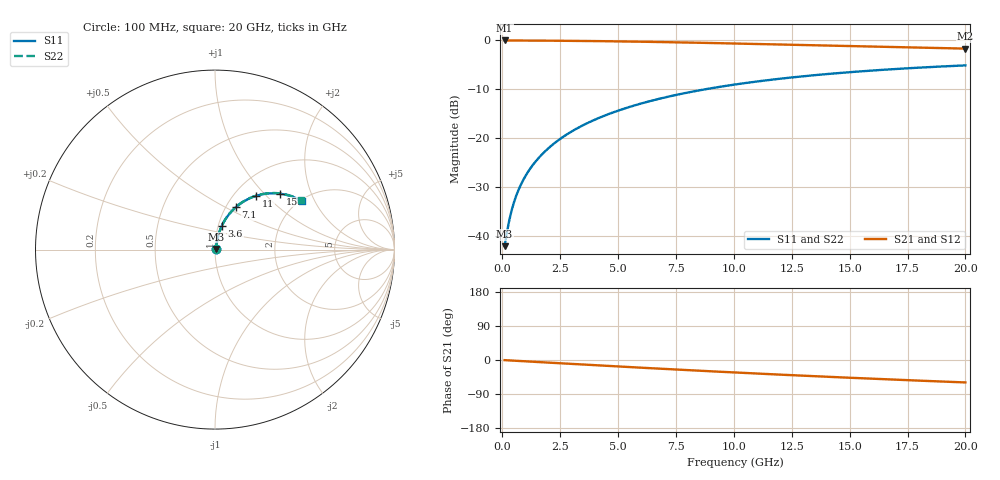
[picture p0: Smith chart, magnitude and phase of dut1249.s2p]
! Touchstone file exported from HFSS 2026.1.0
!  File:  C:/ffzhzh/LocalFiles/Ansys_Project_Files/temp_train_BSMRDL_1249_1783177300_51560.aedt
!  Generated:  11:03:06 PM Jul  4, 2026
!  Design:  BSMRDL
!  Project:  temp_train_BSMRDL_1249_1783177300_51560
! Variables:
!  h_bsmrdl = 2.26um
!  h_ox = 20um
!  h_rdl = 5um
!  h_sub = 80um
!  h_tmrdl = 5um
!  h_tsv = 80um
!  h_via = 3um
!  l_bsmrdl = 877.03um
!  l_sub = 1277.03um
!  l_tmrdl = 200um
!  m_sub = 200um
!  pitch = 56.06um
!  r_tsv = 6um
!  s_tmrdl = 10um
!  w_bsmrdl = 21.34um
!  w_sub = 500um
!  w_tmrdl = 12um
!  x_tsv_center1 = 206um
!  x_tsv_center2 = 1104.37um
!  x_tsv_center3 = 1316.37um
!  x_tsv_center4 = 2214.74um
!  x_tsv_center5 = 2426.74um
!  x_tsv_center6 = 3325.11um
# GHz S MA R 50.000000
! Terminal data exported
! Port[1] = BSM_RDL1_1_T1
! Port[2] = BSM_RDL1_1_T2
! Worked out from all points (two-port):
!   200 points, 100 MHz to 20 GHz, reference 50 ohm
!   highest |S21| = -0.06 dB at 100 MHz (marker M1); lowest = -1.7 dB at 20 GHz (marker M2)
!   |S21| within 3 dB of the highest: start of sweep to end of sweep
!   lowest |S11| = -42.1 dB at 100 MHz (marker M3), VSWR 1.02, Z = 50.7 + j0.427 ohm
!   |S11| at or under -10 dB: start of sweep to 8.799 GHz
!   |S22| runs from -42.1 to -5.1 dB; largest |S21 - S12| = 2.1e-15
!   S11 on the Smith chart (normalised r, x): 100 MHz: 1.01, +0.01; 3.6 GHz: 1.04, +0.28; 7.1 GHz: 1.11, +0.56; 11 GHz: 1.26, +0.88; 15.3 GHz: 1.53, +1.23; 20 GHz: 2.03, +1.58
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0.1  0.007878 32.4  0.9934 -0.4  0.9934 -0.4  0.007878 32.4
! Gamma 0 0 0 0
! Port Impedance 50 0 50 0
0.2  0.01085 50.7  0.9932 -0.7  0.9932 -0.7  0.01085 50.7
0.3  0.01441 60.0  0.993 -1.1  0.993 -1.1  0.01441 60.0
0.4  0.01816 65.2  0.9927 -1.4  0.9927 -1.4  0.01816 65.2
0.5  0.02196 68.5  0.9924 -1.8  0.9924 -1.8  0.02196 68.5
0.6  0.02577 70.7  0.9921 -2.1  0.9921 -2.1  0.02577 70.7
0.8  0.03337 73.4  0.9916 -2.8  0.9916 -2.8  0.03337 73.4
1.1  0.04478 75.5  0.9908 -3.9  0.9908 -3.9  0.04477 75.5
1.6  0.06383 76.7  0.9895 -5.6  0.9895 -5.6  0.06383 76.8
2.1  0.08291 76.7  0.9879 -7.3  0.9879 -7.3  0.08291 76.7
2.7  0.1057 75.8  0.9855 -9.3  0.9855 -9.3  0.1057 75.9
3.5  0.1358 74.1  0.9817 -12.0  0.9817 -12.0  0.1358 74.2
3.6  0.1395 73.9  0.9811 -12.4  0.9811 -12.4  0.1395 73.9
5  0.1906 70.1  0.9722 -17.0  0.9722 -17.0  0.1906 70.2
6.8  0.2528 64.7  0.9575 -22.9  0.9575 -22.9  0.2528 64.9
7.1  0.2627 63.9  0.9547 -23.9  0.9547 -23.9  0.2627 64.0
10.1  0.354 55.0  0.9241 -33.1  0.9241 -33.1  0.354 55.2
11  0.3785 52.4  0.9142 -35.8  0.9142 -35.8  0.3785 52.6
13.4  0.4371 45.8  0.8874 -42.5  0.8874 -42.5  0.4371 46.0
15.3  0.4769 40.8  0.8666 -47.6  0.8666 -47.6  0.4769 41.1
16.7  0.5027 37.2  0.8519 -51.2  0.8519 -51.2  0.5027 37.6
20  0.5528 29.3  0.8206 -59.2  0.8206 -59.2  0.5527 29.7
